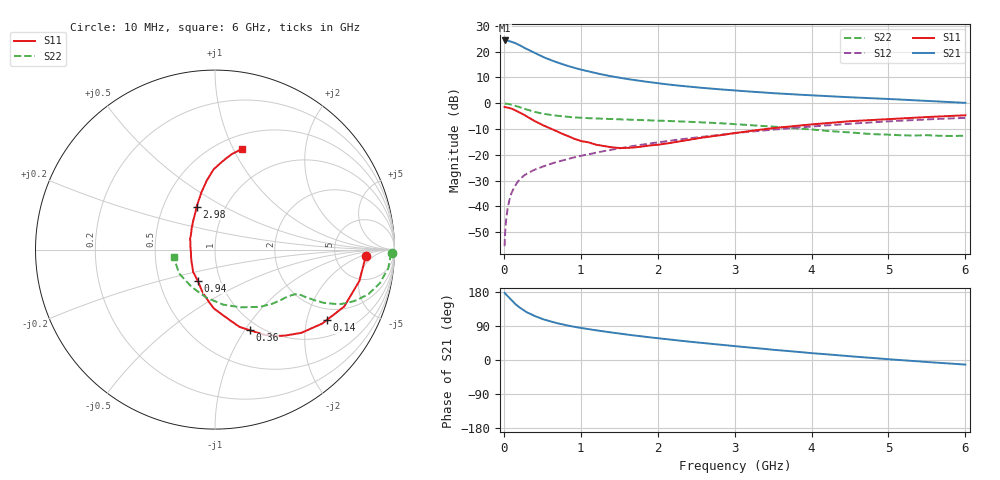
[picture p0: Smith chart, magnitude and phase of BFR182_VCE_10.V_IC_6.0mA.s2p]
! Infineon Technologies  Discrete & RF Semiconductors
! BFR182
! VCE =  10. V,  IC =  6.0 mA
! Common Emitter S-Parameters:  Nov 2015
# GHz  S  MA  R  50
!  f  S11  S21  S12  S22
! GHz  MAG  ANG  MAG  ANG  MAG  ANG  MAG  ANG
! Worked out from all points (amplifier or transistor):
!   210 points, 10 MHz to 6 GHz, reference 50 ohm
!   highest |S21| = 24.3 dB at 10 MHz (marker M1)
!   |S21| within 3 dB of that: start of sweep to 277.5 MHz
!   unconditionally stable (mu >= 1): 1.08 GHz to 2.944 GHz
!   at 185 MHz: K = 0.37, MSG = 26.5 dB, |S12| = -30.3 dB
!   at 1.52 GHz: K = 1.05, MAG = 12.3 dB, |S12| = -17.4 dB
!   at 6 GHz: K = 0.89, MSG = 2.9 dB, |S12| = -5.7 dB
!   S11 on the Smith chart (normalised r, x): 10 MHz: 11, -3; 140 MHz: 1.54, -2.64; 360 MHz: 0.89, -1.05; 940 MHz: 0.78, -0.28; 2.98 GHz: 0.73, +0.38; 6 GHz: 0.64, +1.09
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0.01  0.8417 -2.6  16.38 177.1  0.0017 82.7  0.9846 -1.2
0.025  0.8318 -5.9  16.23 173.6  0.0046 81.0  0.9763 -3.1
0.05  0.8234 -12.2  16.31 168.4  0.0092 82.4  0.971 -6.1
0.1  0.7866 -23.8  15.45 158.1  0.0182 78.6  0.9376 -11.5
0.14  0.7357 -32.3  14.68 149.6  0.0242 73.8  0.8991 -15.2
0.15  0.7257 -34.6  14.54 147.4  0.0257 72.9  0.8901 -16.2
0.2  0.6685 -43.9  13.43 139.2  0.0326 69.0  0.8392 -19.6
0.3  0.5504 -59.8  11.15 125.7  0.0432 64.6  0.7511 -23.9
0.36  0.4884 -66.8  10.08 120.3  0.0481 63.2  0.7072 -25.1
0.4  0.4519 -72.4  9.428 116.1  0.0514 62.4  0.6781 -26.0
0.5  0.3784 -81.5  7.946 108.2  0.0585 62.0  0.6272 -26.9
0.6  0.3275 -91.2  6.909 102.2  0.0662 62.1  0.5945 -27.3
0.8  0.241 -107.6  5.429 92.2  0.0804 62.4  0.5487 -27.8
0.94  0.1983 -119.2  4.728 86.8  0.0908 63.0  0.5278 -28.2
1.02  0.1827 -126.9  4.4 84.0  0.0966 63.2  0.5193 -28.6
1.4  0.1401 -162.2  3.303 72.6  0.1251 63.2  0.4924 -31.5
2.02  0.1576 148.2  2.41 57.1  0.1758 61.1  0.4593 -38.3
2.98  0.2607 113.0  1.771 36.8  0.2599 54.6  0.395 -53.9
3.1  0.2758 110.4  1.719 34.7  0.2706 53.4  0.3838 -56.4
4.1  0.3991 95.5  1.392 16.6  0.3624 43.6  0.2998 -85.0
5.1  0.5003 84.3  1.185 0.6  0.4525 31.9  0.241 -126.8
6  0.5829 74.8  1.014 -12.2  0.5187 19.8  0.2343 -169.7
